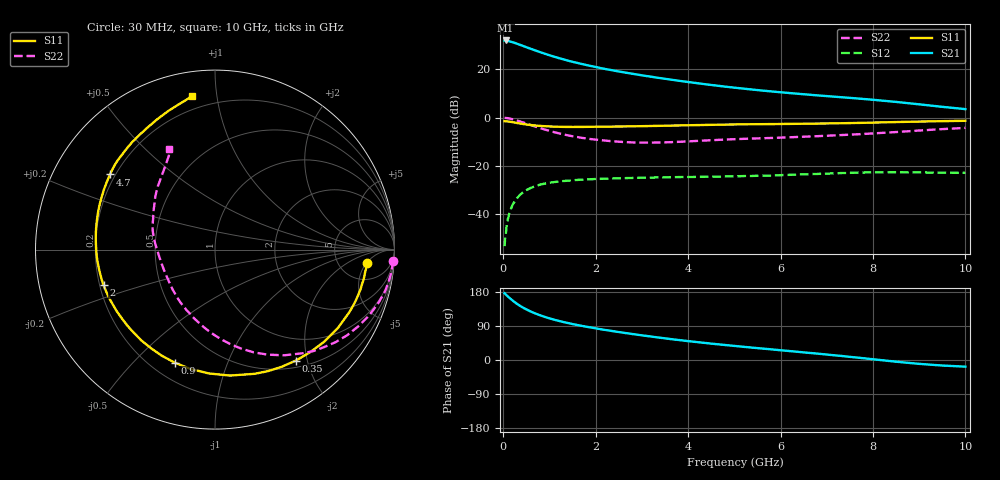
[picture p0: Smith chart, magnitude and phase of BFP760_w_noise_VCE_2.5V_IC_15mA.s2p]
! Infineon Technologies  Discrete & RF Semiconductors
! BFP760
! VCE =  2.5 V,  IC =  15 mA
! Common Emitter S-Parameters:  Nov 2012
# GHz  S  MA  R  50
!  f  S11  S21  S12  S22
! GHz  MAG  ANG  MAG  ANG  MAG  ANG  MAG  ANG
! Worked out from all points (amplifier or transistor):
!   99 points, 30 MHz to 10 GHz, reference 50 ohm
!   highest |S21| = 32.0 dB at 50 MHz (marker M1)
!   |S21| within 3 dB of that: start of sweep to 532 MHz
!   unconditionally stable (mu >= 1): 5.04 GHz to end of sweep
!   at 350 MHz: K = 0.17, MSG = 31.2 dB, |S12| = -32.2 dB
!   at 3.5 GHz: K = 0.79, MSG = 20.4 dB, |S12| = -24.6 dB
!   at 10 GHz: K = 1.13, MAG = 11.0 dB, |S12| = -22.8 dB
!   lowest NFmin = 0.56 dB at 900 MHz
!   S11 on the Smith chart (normalised r, x): 30 MHz: 9, -5; 350 MHz: 0.61, -1.81; 900 MHz: 0.29, -0.67; 2 GHz: 0.22, -0.15; 4.7 GHz: 0.18, +0.31; 10 GHz: 0.13, +0.85
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0.03  0.8481 -5.1  39.44 176.2  0.0022 105.6  0.9922 -3.6
0.04  0.8493 -6.8  39.43 175.2  0.0031 84.7  0.9932 -4.8
0.05  0.8456 -8.5  39.82 173.4  0.0037 81.2  0.9915 -5.9
0.15  0.8257 -25.0  37.88 162.2  0.0119 77.8  0.9595 -17.7
0.2  0.812 -32.7  36.64 157.2  0.0156 72.9  0.9343 -23.1
0.3  0.7796 -47.2  34.05 148.0  0.0218 66.3  0.8771 -33.0
0.35  0.765 -53.9  32.63 144.1  0.0246 62.6  0.8472 -37.5
0.45  0.7388 -66.4  30.11 136.8  0.0296 57.1  0.7881 -45.8
0.6  0.7068 -83.2  26.67 127.7  0.0355 50.4  0.7038 -56.8
0.7  0.6909 -92.8  24.63 122.5  0.0386 46.3  0.6546 -63.4
0.9  0.6688 -109.4  21.17 113.7  0.0434 40.0  0.5703 -75.2
1.1  0.655 -123.0  18.39 106.5  0.0466 35.2  0.5039 -85.5
1.3  0.6477 -134.2  16.19 100.3  0.049 31.5  0.453 -94.8
1.7  0.6464 -151.8  12.97 90.1  0.0523 26.5  0.384 -111.0
2  0.652 -162.3  11.25 83.5  0.054 23.6  0.353 -122.6
2.6  0.661 -179.0  8.743 72.0  0.0562 20.0  0.3151 -142.8
3.4  0.6813 163.8  6.619 58.7  0.0584 17.0  0.3083 -166.7
4.7  0.7195 144.4  4.53 40.8  0.0608 14.8  0.3503 167.8
5.1  0.7296 140.4  4.103 36.0  0.0618 14.6  0.3634 162.8
6.7  0.7569 127.2  2.959 17.9  0.0685 13.5  0.4125 145.6
8.5  0.8152 108.6  2.129 -4.5  0.0748 6.0  0.5061 126.0
10  0.8653 98.5  1.51 -17.6  0.0725 3.0  0.6168 114.3
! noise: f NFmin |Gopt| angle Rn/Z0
0.9  0.56  0.13  32  0.08
1.8  0.6  0.06  78  0.08
2.4  0.66  0.07  133  0.08
3.5  0.78  0.08  168  0.08
5.5  1.01  0.26  -130  0.08
8  1.36  0.39  -91  0.26
